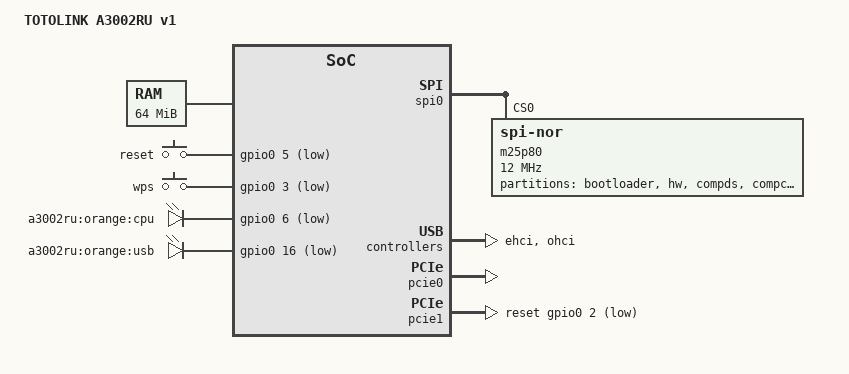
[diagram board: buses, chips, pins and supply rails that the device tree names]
// SPDX-License-Identifier: GPL-2.0
/dts-v1/;

#include "RTL819X.dtsi"

#include <dt-bindings/gpio/gpio.h>
#include <dt-bindings/input/input.h>

/ {
	compatible = "totolink,a3002ru", "realtek,rtl819x-soc";
	model = "TOTOLINK A3002RU v1";

	cpus {
		cpu@0 {
			compatible = "realtek,rx5281";
		};
	};

	memory {
		device_type = "memory";
		reg = <0x0 0x4000000>;
	};

	chosen {
		bootargs = "console=ttyS0,38400";
	};

	gpio-keys-polled {
		compatible = "gpio-keys-polled";
		#address-cells = <1>;
		#size-cells = <0>;
		poll-interval = <20>;

		reset {
			label = "reset";
			gpios = <&gpio0 5 GPIO_ACTIVE_LOW>;
			linux,code = <KEY_RESTART>;
		};

		wps {
			label = "wps";
			gpios = <&gpio0 3 GPIO_ACTIVE_LOW>;
			linux,code = <KEY_WPS_BUTTON>;
		};
	};

	gpio-leds {
		compatible = "gpio-leds";

		cpu {
			label = "a3002ru:orange:cpu";
			gpios = <&gpio0 6 GPIO_ACTIVE_LOW>;
		};

		usb {
			label = "a3002ru:orange:usb";
			gpios = <&gpio0 16 GPIO_ACTIVE_LOW>;
		};
	};

	pinmux: pinmux@18000040 {
		compatible = "pinctrl-single";
		reg = <0x18000040 0x4>;

		pinctrl-single,bit-per-mux;
		pinctrl-single,register-width = <32>;
		pinctrl-single,function-mask = <0x1>;
		#pinctrl-cells = <2>;

		jtag_as_gpio: pinmux_jtag_as_gpio {
			pinctrl-single,bits = <0x0 0x6 0x7>;
		};
		uart0_enable: pinmux_uart0_enable {
			pinctrl-single,bits = <0x0 0x0 0x20>;
		};
		pcie0_rst_enable: pinmux_pcie0_rst_enable {
			pinctrl-single,bits = <0x0 0x0 0x40>;
		};
	};

	pinmux2: pinmux@18000044 {
		compatible = "pinctrl-single";
		reg = <0x18000044 0x4>;

		pinctrl-single,bit-per-mux;
		pinctrl-single,register-width = <32>;
		pinctrl-single,function-mask = <0x1>;
		#pinctrl-cells = <2>;

		led_scan: pinmux_led_scan {
			pinctrl-single,bits = <0x0 0x100000 0x1C0000>;
		};
	};
};

&uartlite {
	pinctrl-names = "default";
	pinctrl-0 = <&uart0_enable>;
};

&gpio0 {
	status = "okay";

	pinctrl-names = "default";
	pinctrl-0 = <&jtag_as_gpio>, <&led_scan>;
};

&gpio1 {
	status = "okay";
};

&spi0 {
	status = "okay";

	m25p80@0 {
		#address-cells = <1>;
		#size-cells = <1>;
		compatible = "jedec,spi-nor";
		reg = <0>;
		spi-max-frequency = <12000000>;

		partition@0 {
			label = "bootloader";
			reg = <0x0 0x6000>;
			read-only;
		};
		hw: partition@6000 {
			label = "hw";
			reg = <0x6000 0x2000>;
			read-only;
		};
		partition@8000 {
			label = "compds";
			reg = <0x8000 0x8000>;
			read-only;
		};
		partition@10000 {
			label = "compcs";
			reg = <0x10000 0x10000>;
			read-only;
		};
		partition@20000 {
			label = "firmware";
			reg = <0x20000 0x7e0000>;
		};
	};
};

&usbphy {
	realtek,oneportsel;
};

&ehci {
	status = "okay";
};

&ohci {
	status = "okay";
};

&pcie0 {
	status = "okay";

	pinctrl-names = "default";
	pinctrl-0 = <&pcie0_rst_enable>;
};

&pcie1 {
	status = "okay";

	reset-gpios = <&gpio0 2 GPIO_ACTIVE_LOW>;
};
